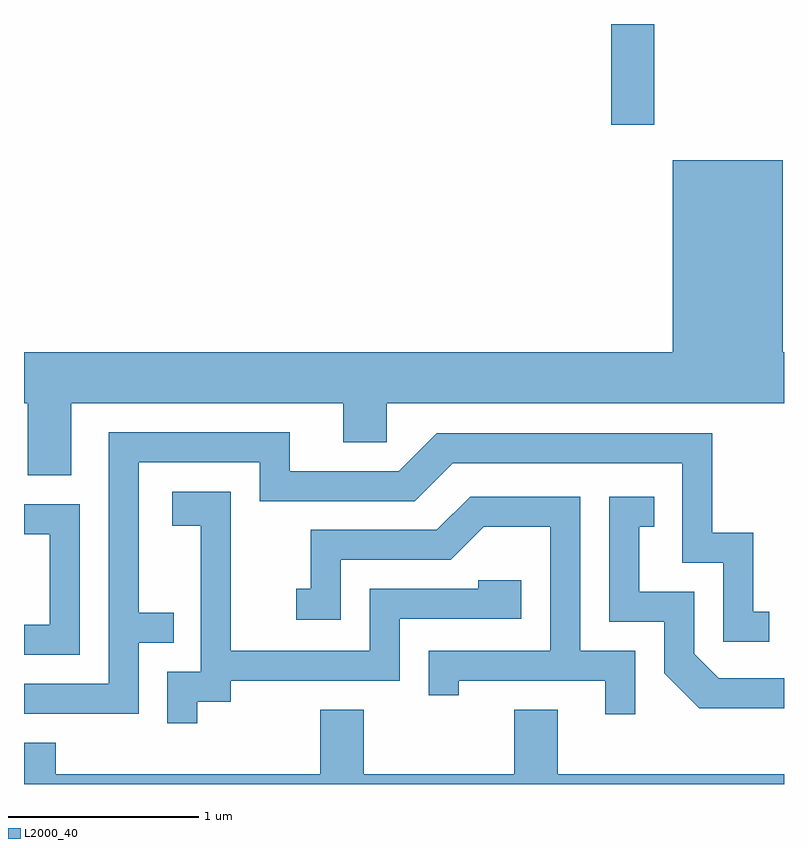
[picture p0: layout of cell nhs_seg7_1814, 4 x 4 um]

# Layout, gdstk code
import gdstk
lib = gdstk.Library(unit=1e-6, precision=1e-09)
def R(c, l, rs):  # rectangles x0, y0, x1, y1
    for r in rs: c.add(gdstk.rectangle(r[:2], r[2:], *l))
def P(c, l, *ps):  # polygons
    for p in ps: c.add(gdstk.Polygon(p, *l))
L2000_40 = (2000, 40)

nhs_seg7_1814 = lib.new_cell('nhs_seg7_1814')
R(nhs_seg7_1814, L2000_40, [(242.701,1775.721,242.929,1776.252)])
P(nhs_seg7_1814, L2000_40, [(239.859,1774.256),(241.291,1774.256),(241.291,1774.051),(241.519,1774.051),(241.519,1774.256),(243.611,1774.256),(243.611,1774.524),(243.604,1774.524),(243.604,1775.534),(243.026,1775.534),(243.026,1774.524),(239.611,1774.524),(239.611,1774.256),(239.631,1774.256),(239.631,1773.876),(239.859,1773.876)],
  [(240.214,1772.996),(240.398,1772.996),(240.398,1773.154),(240.214,1773.154),(240.214,1773.946),(240.851,1773.946),(240.851,1773.741),(241.667,1773.741),(241.867,1773.941),(243.076,1773.941),(243.076,1773.416),(243.291,1773.416),(243.291,1773.001),(243.533,1773.001),(243.533,1773.159),(243.449,1773.159),(243.449,1773.574),(243.234,1773.574),(243.234,1774.099),(241.784,1774.099),(241.584,1773.899),(241.009,1773.899),(241.009,1774.104),(240.056,1774.104),(240.056,1772.779),(239.611,1772.779),(239.611,1772.621),(240.214,1772.621)],
  [(240.524,1772.686),(240.699,1772.686),(240.699,1772.796),(241.589,1772.796),(241.589,1773.121),(242.229,1773.121),(242.229,1773.324),(242.001,1773.324),(242.001,1773.279),(241.431,1773.279),(241.431,1772.954),(240.699,1772.954),(240.699,1773.789),(240.391,1773.789),(240.391,1773.611),(240.541,1773.611),(240.541,1772.844),(240.366,1772.844),(240.366,1772.573),(240.524,1772.573)],
  [(243.611,1772.809),(243.267,1772.809),(243.139,1772.937),(243.139,1773.264),(242.849,1773.264),(242.849,1773.606),(242.928,1773.606),(242.928,1773.764),(242.691,1773.764),(242.691,1773.106),(242.981,1773.106),(242.981,1772.834),(243.164,1772.651),(243.611,1772.651)],
  [(242.829,1772.954),(242.539,1772.954),(242.539,1773.764),(241.959,1773.764),(241.784,1773.589),(241.121,1773.589),(241.121,1773.279),(241.043,1773.279),(241.043,1773.116),(241.279,1773.116),(241.279,1773.431),(241.857,1773.431),(242.032,1773.606),(242.381,1773.606),(242.381,1772.954),(241.741,1772.954),(241.741,1772.718),(241.899,1772.718),(241.899,1772.796),(242.671,1772.796),(242.671,1772.618),(242.829,1772.618)],
  [(239.904,1773.724),(239.611,1773.724),(239.611,1773.566),(239.746,1773.566),(239.746,1773.089),(239.611,1773.089),(239.611,1772.931),(239.904,1772.931)],
  [(243.611,1772.304),(242.419,1772.304),(242.419,1772.644),(242.191,1772.644),(242.191,1772.304),(241.399,1772.304),(241.399,1772.644),(241.171,1772.644),(241.171,1772.304),(239.779,1772.304),(239.779,1772.469),(239.611,1772.469),(239.611,1772.252),(243.611,1772.252)])

lib.write_gds('nhs_seg7_1814.gds')
